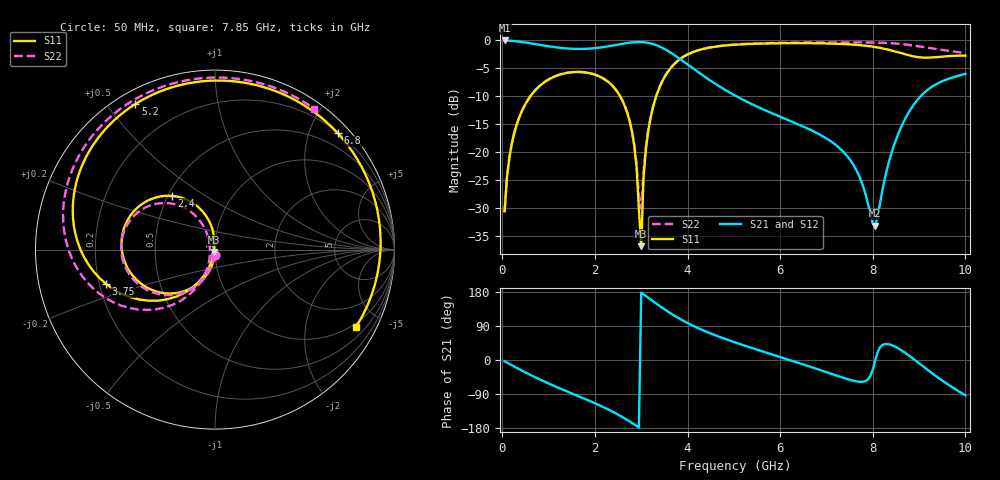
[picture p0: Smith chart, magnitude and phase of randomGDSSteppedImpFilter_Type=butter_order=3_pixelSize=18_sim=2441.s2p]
! freq	dB(S11)	phase(S11)	dB(S12)	phase(S12)
!  dB(S21)	phase(S21)	dB(S22)	phase(S22)
!S-par simulation data
#  GHz  S  DB  R 50
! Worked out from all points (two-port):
!   200 points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, 50 MHz to 10 GHz, reference 50 ohm
!   highest |S21| = -0.01 dB at 50 MHz (marker M1); lowest = -33.1 dB at 8.05 GHz (marker M2)
!   |S21| within 3 dB of the highest: start of sweep to 3.784 GHz
!   lowest |S11| = -36.8 dB at 3 GHz (marker M3), VSWR 1.03, Z = 49.3 - j1.28 ohm
!   |S11| at or under -10 dB: start of sweep to 604.5 MHz; 2.545 GHz to 3.324 GHz (778.5 MHz wide, 26.5 % of centre)
!   |S22| runs from -30.6 to -0.3 dB; largest |S21 - S12| = 0
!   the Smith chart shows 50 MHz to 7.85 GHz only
!   S11 on the Smith chart (normalised r, x): 50 MHz: 0.99, -0.06; 2.4 GHz: 0.52, +0.37; 3.75 GHz: 0.23, -0.15; 5.2 GHz: 0.05, +0.59; 6.8 GHz: 0.22, +2.49; 7.85 GHz: 0.85, -3.72
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0.05  -30.58 -93.5  -0.01 -3.4  -0.01 -3.4  -30.58 -93.4
0.2  -18.68 -104.2  -0.08 -13.4  -0.08 -13.4  -18.68 -103.7
0.5  -11.36 -124.0  -0.38 -32.7  -0.38 -32.7  -11.36 -122.6
1.75  -5.68 166.1  -1.51 -100.9  -1.51 -100.9  -5.67 171.5
2.4  -8.31 128.8  -0.90 -137.5  -0.90 -137.5  -8.30 137.6
2.8  -16.29 100.7  -0.36 -165.9  -0.36 -165.9  -16.19 116.4
3  -36.78 -116.1  -0.30 177.6  -0.30 177.6  -30.03 -152.7
3.1  -19.46 -108.6  -0.37 168.9  -0.37 168.9  -19.12 -112.5
3.4  -8.29 -134.0  -1.11 142.5  -1.11 142.5  -8.25 -127.5
3.75  -3.94 -162.4  -2.81 114.4  -2.81 114.4  -3.91 -152.6
4.3  -1.60 162.2  -6.09 80.1  -6.09 80.1  -1.58 176.1
5.05  -0.75 125.4  -9.96 45.4  -9.96 45.4  -0.72 145.4
5.2  -0.68 118.7  -10.61 39.3  -10.61 39.3  -0.64 140.1
6.7  -0.50 48.8  -16.17 -19.8  -16.17 -19.8  -0.37 92.3
6.8  -0.51 43.4  -16.58 -23.8  -16.58 -23.8  -0.37 89.2
7.85  -0.95 -28.7  -27.69 -55.2  -27.69 -55.2  -0.36 54.9
8.05  -1.18 -48.1  -33.14 -2.4  -33.14 -2.4  -0.39 47.9
8.35  -1.68 -83.5  -21.67 41.4  -21.67 41.4  -0.47 36.9
8.75  -2.61 -145.4  -13.25 14.6  -13.25 14.6  -0.77 21.7
9  -3.02 169.2  -10.29 -8.6  -10.29 -8.6  -1.07 12.4
9.45  -2.94 93.3  -7.49 -50.0  -7.49 -50.0  -1.64 -3.7
10  -2.72 26.3  -5.98 -93.1  -5.98 -93.1  -2.29 -24.6
